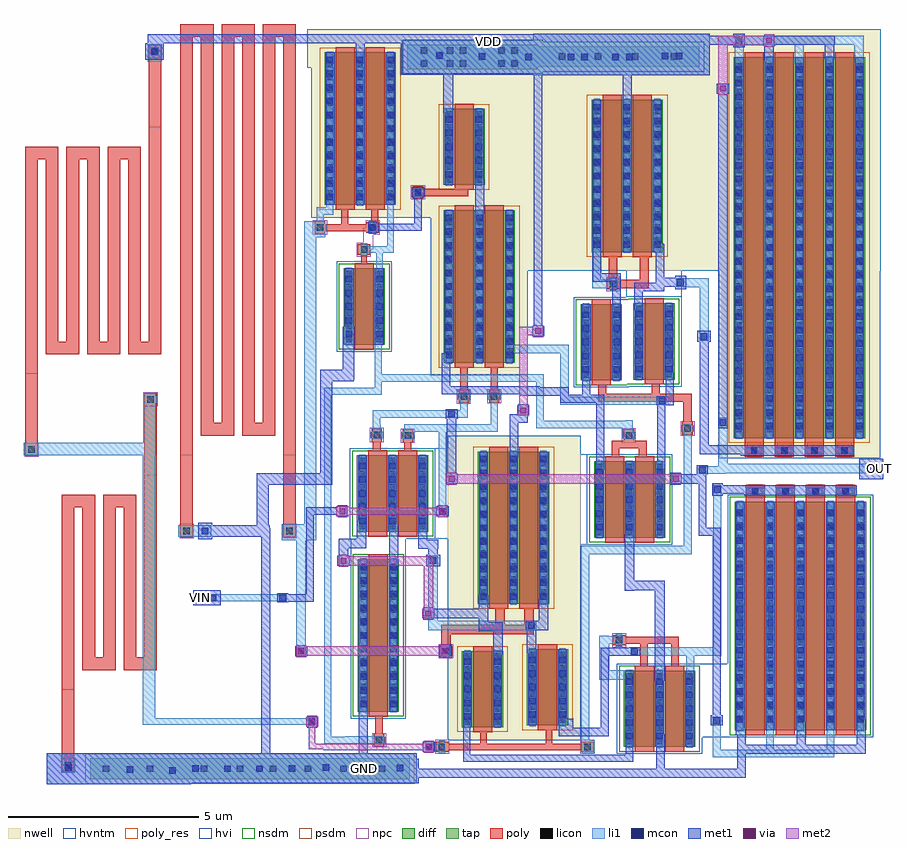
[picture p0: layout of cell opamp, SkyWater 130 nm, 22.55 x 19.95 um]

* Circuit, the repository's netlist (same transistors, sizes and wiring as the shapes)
* SPICE3 file created from opamp.ext - technology: sky130A

.subckt opamp OUT VIN VDD GND
X0 a_1549_3140# a_550_1291# VDD VDD sky130_fd_pr__pfet_g5v0d10v5 ad=0.58 pd=4.58 as=0.58 ps=4.58 w=2 l=0.5
X1 OUT a_1987_304# GND GND sky130_fd_pr__nfet_g5v0d10v5 ad=0.87 pd=6.29 as=0.87 ps=6.29 w=6 l=0.5
X2 GND a_1987_304# OUT GND sky130_fd_pr__nfet_g5v0d10v5 ad=1.74 pd=12.58 as=0.87 ps=6.29 w=6 l=0.5
X3 a_925_2276# a_925_2276# GND GND sky130_fd_pr__nfet_g5v0d10v5 ad=0.58 pd=4.58 as=0.58 ps=4.58 w=2 l=0.5
X4 a_1095_1321# OUT a_937_1321# GND sky130_fd_pr__nfet_g5v0d10v5 ad=0.29 pd=2.29 as=0.58 ps=4.58 w=2 l=0.5
X5 a_1987_304# a_n804_1718# a_1253_1321# w_1414_228# sky130_fd_pr__pfet_g5v0d10v5 ad=0.58 pd=4.58 as=0.58 ps=4.58 w=2 l=0.5
X6 GND a_1987_304# OUT GND sky130_fd_pr__nfet_g5v0d10v5 ad=0.87 pd=6.29 as=0.87 ps=6.29 w=6 l=0.5
X7 a_925_2276# a_550_1291# VDD VDD sky130_fd_pr__pfet_g5v0d10v5 ad=1.16 pd=8.58 as=0.58 ps=4.29 w=4 l=0.5
X8 GND a_925_2276# a_1392_2207# GND sky130_fd_pr__nfet_g5v0d10v5 ad=0.29 pd=2.29 as=0.58 ps=4.58 w=2 l=0.5
R0 GND a_550_1291# sky130_fd_pr__res_generic_po w=0.33 l=65.24
X9 a_1708_2207# VIN a_1549_3140# VDD sky130_fd_pr__pfet_g5v0d10v5 ad=1.16 pd=8.58 as=0.58 ps=4.29 w=4 l=0.5
X10 VDD a_2388_2119# OUT VDD sky130_fd_pr__pfet_g5v0d10v5 ad=1.45 pd=10.29 as=1.45 ps=10.29 w=10 l=0.5
X11 a_1549_3140# OUT a_1392_2207# VDD sky130_fd_pr__pfet_g5v0d10v5 ad=0.58 pd=4.29 as=1.16 ps=8.58 w=4 l=0.5
X12 a_1253_1321# VIN a_1095_1321# GND sky130_fd_pr__nfet_g5v0d10v5 ad=0.58 pd=4.58 as=0.29 ps=2.29 w=2 l=0.5
X13 a_1095_1321# a_925_2276# GND GND sky130_fd_pr__nfet_g5v0d10v5 ad=1.16 pd=8.58 as=1.16 ps=8.58 w=4 l=0.5
X14 OUT a_1987_304# GND GND sky130_fd_pr__nfet_g5v0d10v5 ad=0.87 pd=6.29 as=1.74 ps=12.58 w=6 l=0.5
X15 VDD a_2168_2788# a_2168_2788# VDD sky130_fd_pr__pfet_g5v0d10v5 ad=0.58 pd=4.29 as=1.16 ps=8.58 w=4 l=0.5
X16 a_937_1321# a_n804_1718# a_1488_294# w_1414_228# sky130_fd_pr__pfet_g5v0d10v5 ad=0.58 pd=4.58 as=0.58 ps=4.58 w=2 l=0.5
X17 OUT a_2388_2119# VDD VDD sky130_fd_pr__pfet_g5v0d10v5 ad=1.45 pd=10.29 as=1.45 ps=10.29 w=10 l=0.5
X18 a_1253_1321# a_550_1291# VDD w_1414_228# sky130_fd_pr__pfet_g5v0d10v5 ad=1.16 pd=8.58 as=0.58 ps=4.29 w=4 l=0.5
X19 a_2168_2788# a_n804_1718# a_1392_2207# GND sky130_fd_pr__nfet_g5v0d10v5 ad=0.58 pd=4.58 as=0.58 ps=4.58 w=2 l=0.5
X20 a_1708_2207# a_n804_1718# a_2388_2119# GND sky130_fd_pr__nfet_g5v0d10v5 ad=0.58 pd=4.58 as=0.58 ps=4.58 w=2 l=0.5
R1 a_n804_1718# VDD sky130_fd_pr__res_generic_po w=0.33 l=38.47
X21 VDD a_550_1291# a_937_1321# w_1414_228# sky130_fd_pr__pfet_g5v0d10v5 ad=0.58 pd=4.29 as=1.16 ps=8.58 w=4 l=0.5
X22 VDD a_550_1291# a_550_1291# VDD sky130_fd_pr__pfet_g5v0d10v5 ad=0.58 pd=4.29 as=1.16 ps=8.58 w=4 l=0.5
X23 OUT a_2388_2119# VDD VDD sky130_fd_pr__pfet_g5v0d10v5 ad=1.45 pd=10.29 as=2.9 ps=20.58 w=10 l=0.5
X24 VDD a_2388_2119# OUT VDD sky130_fd_pr__pfet_g5v0d10v5 ad=2.9 pd=20.58 as=1.45 ps=10.29 w=10 l=0.5
X25 a_1708_2207# a_925_2276# GND GND sky130_fd_pr__nfet_g5v0d10v5 ad=0.58 pd=4.58 as=0.29 ps=2.29 w=2 l=0.5
X26 GND a_1488_294# a_1488_294# GND sky130_fd_pr__nfet_g5v0d10v5 ad=0.29 pd=2.29 as=0.58 ps=4.58 w=2 l=0.5
R2 GND a_n804_1718# sky130_fd_pr__res_generic_po w=0.33 l=23.56
X27 a_1987_304# a_1488_294# GND GND sky130_fd_pr__nfet_g5v0d10v5 ad=0.58 pd=4.58 as=0.29 ps=2.29 w=2 l=0.5
X28 a_2388_2119# a_2168_2788# VDD VDD sky130_fd_pr__pfet_g5v0d10v5 ad=1.16 pd=8.58 as=0.58 ps=4.29 w=4 l=0.5
.ends

x1 OUT VIN VDD GND opamp

V1 VIN GND sine(1.65 1.8 100)
V3 VDD GND 3.3

**** begin user architecture code

.param mc_mm_switch=0
.param mc_pr_switch=0
.include /usr/local/share/pdk/sky130A/libs.tech/ngspice/corners/tt.spice
.include /usr/local/share/pdk/sky130A/libs.tech/ngspice/r+c/res_typical__cap_typical.spice
.include /usr/local/share/pdk/sky130A/libs.tech/ngspice/r+c/res_typical__cap_typical__lin.spice
.include /usr/local/share/pdk/sky130A/libs.tech/ngspice/corners/tt/specialized_cells.spice



.tran 0.1m 20m
.save all
.control
run

*For Transient Analysis
plot OUT VIN VDD
.endc

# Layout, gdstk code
import gdstk
lib = gdstk.Library(unit=1e-6, precision=1e-09)
def R(c, l, rs):  # rectangles x0, y0, x1, y1
    for r in rs: c.add(gdstk.rectangle(r[:2], r[2:], *l))
def A(c, l, x, y, w, h, nx, ny, dx, dy):  # array of equal rectangles
    R(c, l, [(x+i*dx, y+j*dy, x+i*dx+w, y+j*dy+h) for i in range(nx) for j in range(ny)])
nwell = (64, 20)
diff = (65, 20)
tap = (65, 44)
poly_res = (66, 13)
poly = (66, 20)
licon = (66, 44)
li1 = (67, 20)
mcon = (67, 44)
met1 = (68, 20)
via = (68, 44)
met2 = (69, 20)
hvi = (75, 20)
nsdm = (93, 44)
psdm = (94, 20)
npc = (95, 20)
hvntm = (125, 20)

opamp = lib.new_cell('opamp')
R(opamp, nwell, [(7.115,1.13,10.55,1.14), (7.07,1.14,10.56,9.125), (14.185,8.535,18.415,13.455), (6.615,10.705,9.16,13.455), (6.615,13.455,18.425,14.845), (3.485,14.845,18.425,18.775), (3.385,18.775,18.425,19.785)])
R(opamp, diff, [(11.69,0.955,13.56,2.955), (14.595,1.39,18.045,7.39), (7.44,1.47,8.52,3.47), (9.145,1.52,10.225,3.52), (4.705,1.88,5.785,5.88), (7.86,4.705,9.73,8.705), (10.905,6.445,12.775,8.445), (4.685,6.605,6.555,8.605), (14.57,9.055,18.02,19.055), (10.555,10.575,11.635,12.575), (11.94,10.595,13.02,12.595), (6.96,11.035,8.83,15.035), (4.335,11.51,5.415,13.51), (10.84,13.94,12.71,17.94), (3.835,15.18,5.705,19.18), (6.955,15.7,8.035,17.7)])
R(opamp, tap, [(-2.32,0.11,6.065,0.655), (6.01,18.74,9.43,18.8), (6.01,18.8,13.67,19.34), (6.01,19.34,9.43,19.385)])
A(opamp, poly_res, -2.52, 3.3, 0.33, 3.94, 3, 1, 0.54, 0)
A(opamp, poly_res, 0.59, 9.455, 0.33, 10.14, 4, 1, 0.54, 0)
A(opamp, poly_res, -3.48, 11.26, 0.87, 0.33, 3, 1, 1.08, 0)
A(opamp, poly_res, -3.48, 11.59, 0.33, 4.79, 5, 1, 0.54, 0)
A(opamp, poly_res, -4.02, 16.38, 0.87, 0.33, 3, 1, 1.08, 0)
A(opamp, poly_res, 0.05, 19.595, 0.87, 0.33, 3, 1, 1.08, 0)
R(opamp, poly_res, [(-3.06,2.45,-2.73,7.24), (-2.52,2.97,-1.65,3.3), (-1.44,2.97,-0.57,3.3), (-0.9,3.3,-0.57,8.09), (-3.06,7.24,-2.19,7.57), (-1.98,7.24,-1.11,7.57), (0.05,8.605,0.38,19.595), (2.75,8.605,3.08,19.595), (0.59,9.125,1.46,9.455), (1.67,9.125,2.54,9.455), (-4.02,10.74,-3.69,16.38), (-0.78,11.59,-0.45,17.23)])
A(opamp, poly, 14.885, 1.26, 0.5, 6.57, 4, 1, 0.79, 0)
A(opamp, poly, -2.52, 3.3, 0.33, 3.94, 3, 1, 0.54, 0)
A(opamp, poly, 14.86, 8.57, 0.5, 10.615, 4, 1, 0.79, 0)
A(opamp, poly, 0.59, 9.455, 0.33, 10.14, 4, 1, 0.54, 0)
A(opamp, poly, -3.48, 11.26, 0.87, 0.33, 3, 1, 1.08, 0)
A(opamp, poly, -3.48, 11.59, 0.33, 4.79, 5, 1, 0.54, 0)
A(opamp, poly, -4.02, 16.38, 0.87, 0.33, 3, 1, 1.08, 0)
A(opamp, poly, 0.05, 19.595, 0.87, 0.33, 3, 1, 1.08, 0)
R(opamp, poly, [(-3.06,0.3,-2.73,7.24), (6.755,0.82,7.085,0.87), (10.565,0.82,10.895,0.87), (11.98,0.825,12.48,3.085), (12.77,0.825,13.27,3.085), (6.755,0.87,10.895,1.04), (5.13,0.965,5.4,1.295), (6.755,1.04,7.085,1.09), (7.92,1.04,8.09,1.34), (9.645,1.04,9.815,1.39), (10.565,1.04,10.895,1.09), (5.165,1.295,5.365,1.75), (7.73,1.34,8.23,3.6), (9.435,1.39,9.935,3.65), (4.995,1.75,5.495,6.01), (-2.52,2.97,-1.65,3.3), (-1.44,2.97,-0.57,3.3), (12.115,3.085,12.31,3.655), (12.935,3.085,13.13,3.655), (-0.9,3.3,-0.57,10.24), (6.855,3.33,7.185,3.6), (6.895,3.6,7.145,3.905), (11.4,3.62,11.73,3.655), (11.4,3.655,13.13,3.85), (11.4,3.85,11.73,3.89), (6.895,3.905,9.32,4.155), (8.31,4.155,8.56,4.575), (9.07,4.155,9.32,4.575), (8.15,4.575,8.65,8.835), (8.94,4.575,9.44,8.835), (11.195,6.315,11.695,8.575), (11.985,6.315,12.485,8.575), (0.05,6.455,0.38,19.595), (2.75,6.455,3.08,19.595), (4.975,6.475,5.475,8.735), (5.765,6.475,6.265,8.735), (-3.06,7.24,-2.19,7.57), (-1.98,7.24,-1.11,7.57), (11.37,8.575,11.57,8.79), (12.085,8.575,12.285,8.79), (-4.02,8.59,-3.69,16.38), (5.1,8.735,5.31,8.975), (5.92,8.735,6.115,8.955), (11.37,8.79,12.285,8.99), (5.885,8.955,6.155,9.285), (5.07,8.975,5.34,9.305), (11.685,8.99,11.955,9.29), (0.59,9.125,1.46,9.455), (1.67,9.125,2.54,9.455), (13.225,9.145,13.495,9.475), (13.25,9.475,13.465,10.005), (7.355,9.985,7.625,10.315), (8.15,9.99,8.42,10.32), (11.015,10.005,13.465,10.22), (11.015,10.22,11.23,10.445), (12.415,10.22,12.63,10.465), (7.39,10.315,7.59,10.905), (8.19,10.32,8.375,10.905), (10.845,10.445,11.345,12.705), (12.23,10.465,12.73,12.725), (7.25,10.905,7.75,15.165), (8.04,10.905,8.54,15.165), (4.625,11.38,5.125,13.64), (-0.78,11.59,-0.45,19.38), (11.24,12.965,11.57,12.985), (11.24,12.985,12.335,13.215), (11.24,13.215,11.57,13.235), (12.105,13.215,12.335,13.81), (11.29,13.235,11.52,13.81), (4.79,13.64,4.96,13.66), (4.79,13.66,4.94,13.87), (11.13,13.81,11.63,18.07), (11.92,13.81,12.42,18.07), (4.7,13.87,5.03,14.14), (3.58,14.42,3.85,14.49), (4.93,14.45,5.26,14.49), (3.58,14.49,5.26,14.675), (3.58,14.675,3.85,14.75), (4.27,14.675,4.455,15.05), (4.93,14.675,5.26,14.72), (5.06,14.72,5.245,15.05), (4.125,15.05,4.625,19.31), (4.915,15.05,5.415,19.31), (6.15,15.34,6.42,15.405), (6.15,15.405,7.6,15.57), (6.15,15.57,7.745,15.605), (6.15,15.605,6.42,15.67), (7.245,15.605,7.745,17.83)])
A(opamp, licon, 11.75, 1.02, 0.17, 0.17, 3, 6, 0.79, 0.34)
A(opamp, licon, 7.5, 1.535, 0.17, 0.17, 1, 6, 0, 0.34)
A(opamp, licon, 8.29, 1.535, 0.17, 0.17, 1, 6, 0, 0.34)
A(opamp, licon, 9.205, 1.585, 0.17, 0.17, 1, 6, 0, 0.34)
A(opamp, licon, 9.995, 1.585, 0.17, 0.17, 1, 6, 0, 0.34)
A(opamp, licon, 14.655, 1.585, 0.17, 0.17, 5, 17, 0.79, 0.34)
A(opamp, licon, 4.765, 2.095, 0.17, 0.17, 1, 11, 0, 0.34)
A(opamp, licon, 5.555, 2.095, 0.17, 0.17, 1, 11, 0, 0.34)
A(opamp, licon, 7.92, 4.92, 0.17, 0.17, 3, 11, 0.79, 0.34)
A(opamp, licon, 10.965, 6.51, 0.17, 0.17, 3, 6, 0.79, 0.34)
A(opamp, licon, 4.745, 6.67, 0.17, 0.17, 3, 6, 0.79, 0.34)
A(opamp, licon, 15.05, 7.58, 0.17, 0.17, 4, 1, 0.79, 0)
A(opamp, licon, 15.025, 8.65, 0.17, 0.17, 4, 1, 0.79, 0)
A(opamp, licon, 14.63, 9.21, 0.17, 0.17, 5, 29, 0.79, 0.34)
A(opamp, licon, 10.615, 10.64, 0.17, 0.17, 1, 6, 0, 0.34)
A(opamp, licon, 11.405, 10.64, 0.17, 0.17, 1, 6, 0, 0.34)
A(opamp, licon, 12, 10.66, 0.17, 0.17, 1, 6, 0, 0.34)
A(opamp, licon, 12.79, 10.66, 0.17, 0.17, 1, 6, 0, 0.34)
A(opamp, licon, 7.02, 11.25, 0.17, 0.17, 3, 11, 0.79, 0.34)
A(opamp, licon, 4.395, 11.575, 0.17, 0.17, 1, 6, 0, 0.34)
A(opamp, licon, 5.185, 11.575, 0.17, 0.17, 1, 6, 0, 0.34)
A(opamp, licon, 10.9, 14.155, 0.17, 0.17, 3, 11, 0.79, 0.34)
A(opamp, licon, 3.895, 15.395, 0.17, 0.17, 3, 11, 0.79, 0.34)
A(opamp, licon, 7.015, 15.765, 0.17, 0.17, 1, 6, 0, 0.34)
A(opamp, licon, 7.805, 15.765, 0.17, 0.17, 1, 6, 0, 0.34)
R(opamp, licon, [(-1.99,0.295,-1.82,0.465), (-0.835,0.295,-0.665,0.465), (0.58,0.295,0.75,0.465), (1.525,0.295,1.695,0.465), (2.395,0.295,2.565,0.465), (3.31,0.295,3.48,0.465), (4.245,0.295,4.415,0.465), (5.26,0.295,5.43,0.465), (-2.98,0.38,-2.81,0.55), (6.835,0.87,7.005,1.04), (10.645,0.87,10.815,1.04), (5.18,1.045,5.35,1.215), (6.935,3.38,7.105,3.55), (11.48,3.67,11.65,3.84), (0.13,6.535,0.3,6.705), (2.83,6.535,3,6.705), (-3.94,8.67,-3.77,8.84), (5.935,9.035,6.105,9.205), (11.735,9.04,11.905,9.21), (5.12,9.055,5.29,9.225), (13.275,9.225,13.445,9.395), (-0.82,9.99,-0.65,10.16), (7.405,10.065,7.575,10.235), (8.2,10.07,8.37,10.24), (11.32,13.015,11.49,13.185), (4.78,13.92,4.95,14.09), (3.63,14.5,3.8,14.67), (5.01,14.5,5.18,14.67), (6.2,15.42,6.37,15.59), (6.355,18.805,6.525,18.975), (7.045,18.805,7.215,18.975), (7.385,18.805,7.555,18.975), (8.39,18.805,8.56,18.975), (8.73,18.805,8.9,18.975), (9.98,18.985,10.15,19.155), (10.925,18.985,11.095,19.155), (11.895,18.985,12.065,19.155), (12.92,18.985,13.09,19.155), (-0.7,19.13,-0.53,19.3), (6.355,19.145,6.525,19.315), (7.045,19.145,7.215,19.315), (7.385,19.145,7.555,19.315), (8.39,19.145,8.56,19.315), (8.73,19.145,8.9,19.315)])
A(opamp, li1, 14.655, 1.37, 0.17, 6.04, 3, 1, 1.58, 0)
A(opamp, li1, 7.92, 4.685, 0.17, 4.04, 3, 1, 0.79, 0)
A(opamp, li1, 10.965, 6.425, 0.17, 2.04, 3, 1, 0.79, 0)
A(opamp, li1, 4.745, 6.585, 0.17, 2.04, 3, 1, 0.79, 0)
A(opamp, li1, 14.885, 7.58, 0.5, 0.17, 4, 1, 0.79, 0)
A(opamp, li1, 14.86, 8.65, 0.5, 0.17, 4, 1, 0.79, 0)
R(opamp, li1, [(-3.46,-0.02,0.33,0), (-3.46,0,6.255,0.785), (14.025,0.685,17.21,0.885), (-3.46,0.785,0.33,0.79), (10.585,0.785,10.93,0.82), (6.835,0.79,7.005,0.87), (10.57,0.82,10.93,1.13), (6.485,0.87,7.005,1.04), (14.025,0.885,14.225,1.75), (15.42,0.885,15.62,1.61), (17.01,0.885,17.21,1.565), (11.75,0.935,11.92,2.71), (12.54,0.935,12.71,2.975), (13.33,0.935,13.5,2.675), (4.38,1.03,5.365,1.035), (3.825,1.035,5.365,1.045), (6.835,1.04,7.005,1.12), (3.825,1.045,5.43,1.215), (10.57,1.13,10.785,6.015), (3.825,1.215,5.365,1.22), (3.825,1.22,4.01,10.195), (4.38,1.22,5.365,1.23), (7.5,1.45,7.67,3.49), (8.29,1.45,8.46,3.49), (9.205,1.5,9.375,3.54), (9.995,1.5,10.165,3.54), (3.41,1.515,3.58,1.53), (-0.935,1.53,3.58,1.7), (17.025,1.565,17.195,7.41), (15.445,1.61,15.615,7.41), (-0.935,1.7,-0.605,8.61), (3.41,1.7,3.58,1.715), (4.765,1.86,4.935,5.9), (5.555,1.86,5.725,5.9), (13.325,2.675,13.54,3.35), (11.04,2.71,11.945,2.97), (11.04,2.97,11.3,3.66), (11.75,2.97,11.92,2.975), (6.935,3.3,7.105,3.34), (6.895,3.34,7.145,3.59), (3.095,3.345,3.345,6.38), (11.865,3.35,14.25,3.565), (14.035,3.565,14.25,7.815), (6.935,3.59,7.105,3.63), (11.48,3.59,11.65,3.66), (11.04,3.66,11.665,3.855), (11.04,3.855,11.3,3.87), (11.48,3.855,11.65,3.92), (6.56,4.02,9.39,4.265), (6.56,4.265,6.805,5.97), (0.815,4.77,2.835,4.965), (10.57,6.015,13.47,6.23), (13.255,6.23,13.47,9.225), (2.71,6.38,3.62,6.795), (0,6.465,0.855,6.77), (3.3,6.795,3.62,14.335), (6.83,7.035,7.025,9.225), (13.65,8.125,14.365,8.135), (13.65,8.135,18.31,8.325), (14.17,8.325,18.31,8.38), (14.17,8.38,14.415,9.595), (-4.06,8.61,-0.595,8.94), (-0.925,8.94,-0.595,9.99), (5.925,9.025,6.12,9.035), (11.72,9.025,11.92,9.04), (5.1,9.035,5.31,9.055), (5.855,9.035,6.185,9.205), (14.63,9.035,14.8,18.915), (15.42,9.035,15.59,19.075), (16.21,9.035,16.38,18.89), (17,9.035,17.17,19.075), (17.79,9.035,17.96,18.89), (11.655,9.04,11.985,9.21), (5.04,9.055,5.37,9.225), (5.925,9.205,6.185,9.225), (11.655,9.21,11.92,9.315), (5.1,9.225,5.31,9.41), (5.925,9.225,8.38,9.42), (13.195,9.225,13.525,9.395), (9.39,9.315,11.92,9.515), (13.255,9.395,13.47,9.42), (5.1,9.41,5.3,9.59), (8.195,9.42,8.38,10.07), (9.39,9.515,9.59,10.53), (11.72,9.515,11.92,9.52), (5.1,9.59,7.59,9.79), (7.39,9.79,7.59,10.065), (10.025,9.93,12.8,10.145), (-0.925,9.99,-0.57,10.16), (7.325,10.065,7.655,10.235), (8.12,10.07,8.45,10.24), (10.025,10.145,10.24,11.29), (-0.925,10.16,-0.595,10.235), (3.825,10.195,5.335,10.38), (7.39,10.235,7.59,10.25), (8.195,10.24,8.38,10.25), (5.15,10.38,5.335,10.53), (5.15,10.53,9.59,10.73), (10.615,10.555,10.785,12.595), (11.405,10.555,11.575,12.595), (12,10.575,12.17,12.615), (12.79,10.575,12.96,12.615), (5.15,10.73,5.335,11.49), (7.02,11.015,7.19,15.055), (7.81,11.015,7.98,15.055), (8.6,11.015,8.77,11.29), (8.6,11.29,10.24,11.505), (4.395,11.49,4.565,13.53), (5.15,11.49,5.355,12.545), (8.6,11.505,8.77,15.055), (13.68,11.61,13.915,13.02), (5.185,12.545,5.355,13.52), (11.32,12.935,11.49,12.985), (10.855,12.985,11.52,13.215), (13.35,13.02,13.915,13.03), (13.065,13.03,13.915,13.255), (10.855,13.215,11.085,14.395), (11.32,13.215,11.49,13.265), (5.185,13.52,5.36,13.92), (4.78,13.84,4.95,13.92), (4.78,13.92,5.645,14.09), (11.69,13.92,11.86,17.96), (12.48,13.92,12.65,17.96), (4.78,14.09,4.95,14.17), (5.475,14.09,5.645,19.2), (3.3,14.335,3.85,14.5), (10.9,14.395,11.07,17.96), (5.01,14.42,5.18,14.495), (5.005,14.495,5.19,14.68), (3.3,14.5,3.88,14.67), (3.3,14.67,3.85,14.75), (5.01,14.68,5.18,14.75), (3.625,14.75,3.81,14.925), (3.625,14.925,4.06,15.11), (3.875,15.11,4.06,15.16), (3.875,15.16,4.065,15.44), (4.685,15.16,4.855,19.2), (6.185,15.405,6.385,15.42), (6.12,15.42,6.45,15.59), (3.895,15.44,4.065,19.2), (6.185,15.59,6.385,15.605), (7.015,15.68,7.185,17.72), (7.805,15.68,7.975,17.72), (9.31,18.585,13.94,18.59), (5.86,18.59,13.94,19.5), (16.17,18.89,16.41,19.375), (17.75,18.89,17.99,19.115), (14.595,18.915,14.835,19.375), (-0.81,18.93,-0.44,19.39), (17.74,19.115,17.99,19.23), (17.74,19.23,17.98,19.375), (14.595,19.375,17.98,19.615), (9.31,19.5,13.94,19.665)])
A(opamp, mcon, 11.75, 1.15, 0.17, 0.17, 3, 5, 0.79, 0.36)
A(opamp, mcon, 14.655, 1.605, 0.17, 0.17, 5, 16, 0.79, 0.36)
A(opamp, mcon, 7.5, 1.665, 0.17, 0.17, 1, 5, 0, 0.36)
A(opamp, mcon, 8.29, 1.665, 0.17, 0.17, 1, 5, 0, 0.36)
A(opamp, mcon, 9.205, 1.715, 0.17, 0.17, 1, 5, 0, 0.36)
A(opamp, mcon, 9.995, 1.715, 0.17, 0.17, 1, 5, 0, 0.36)
A(opamp, mcon, 4.765, 1.995, 0.17, 0.17, 1, 11, 0, 0.36)
A(opamp, mcon, 5.555, 1.995, 0.17, 0.17, 1, 11, 0, 0.36)
A(opamp, mcon, 7.92, 4.82, 0.17, 0.17, 3, 11, 0.79, 0.36)
A(opamp, mcon, 10.965, 6.64, 0.17, 0.17, 3, 5, 0.79, 0.36)
A(opamp, mcon, 4.745, 6.8, 0.17, 0.17, 3, 5, 0.79, 0.36)
A(opamp, mcon, 15.05, 7.58, 0.17, 0.17, 4, 1, 0.79, 0)
A(opamp, mcon, 15.025, 8.65, 0.17, 0.17, 4, 1, 0.79, 0)
A(opamp, mcon, 14.63, 9.29, 0.17, 0.17, 5, 27, 0.79, 0.36)
A(opamp, mcon, 10.615, 10.77, 0.17, 0.17, 1, 5, 0, 0.36)
A(opamp, mcon, 11.405, 10.77, 0.17, 0.17, 1, 5, 0, 0.36)
A(opamp, mcon, 12, 10.79, 0.17, 0.17, 1, 5, 0, 0.36)
A(opamp, mcon, 12.79, 10.79, 0.17, 0.17, 1, 5, 0, 0.36)
A(opamp, mcon, 7.02, 11.15, 0.17, 0.17, 3, 11, 0.79, 0.36)
A(opamp, mcon, 4.395, 11.705, 0.17, 0.17, 1, 5, 0, 0.36)
A(opamp, mcon, 5.185, 11.705, 0.17, 0.17, 1, 5, 0, 0.36)
A(opamp, mcon, 10.9, 14.055, 0.17, 0.17, 3, 11, 0.79, 0.36)
A(opamp, mcon, 3.895, 15.295, 0.17, 0.17, 3, 11, 0.79, 0.36)
A(opamp, mcon, 7.015, 15.895, 0.17, 0.17, 1, 5, 0, 0.36)
A(opamp, mcon, 7.805, 15.895, 0.17, 0.17, 1, 5, 0, 0.36)
R(opamp, mcon, [(-0.245,0.255,-0.075,0.425), (-1.355,0.275,-1.185,0.445), (1.2,0.295,1.37,0.465), (2.045,0.295,2.215,0.465), (0.36,0.305,0.53,0.475), (2.89,0.305,3.06,0.475), (5.725,0.315,5.895,0.485), (-2.975,0.325,-2.805,0.495), (3.785,0.325,3.955,0.495), (4.72,0.325,4.89,0.495), (6.485,0.87,6.655,1.04), (3.41,1.53,3.58,1.7), (14.04,1.565,14.21,1.735), (11.885,3.37,12.055,3.54), (6.935,3.38,7.105,3.55), (3.135,3.385,3.305,3.555), (9.18,4.05,9.35,4.22), (0.825,4.78,0.995,4.95), (2.65,4.78,2.82,4.95), (6.595,5.76,6.765,5.93), (0.615,6.53,0.785,6.7), (6.84,7.045,7.01,7.215), (14.055,7.62,14.225,7.79), (13.665,8.14,13.835,8.31), (18.1,8.17,18.27,8.34), (14.205,9.385,14.375,9.555), (7.085,9.61,7.255,9.78), (12.605,9.95,12.775,10.12), (13.71,11.64,13.88,11.81), (13.09,13.055,13.26,13.225), (5.01,14.5,5.18,14.67), (6.2,15.42,6.37,15.59), (9.1,18.97,9.27,19.14), (11.39,18.97,11.56,19.14), (11.75,18.97,11.92,19.14), (10.215,18.98,10.385,19.15), (10.575,18.98,10.745,19.15), (7.885,18.985,8.055,19.155), (12.685,18.995,12.855,19.165), (13.045,18.995,13.215,19.165), (6.765,19.01,6.935,19.18), (-0.71,19.12,-0.54,19.29), (14.63,19.41,14.8,19.58)])
A(opamp, met1, 14.6, 9.055, 0.23, 10, 3, 1, 1.58, 0)
R(opamp, met1, [(-3.46,-0.02,0.33,0), (-3.46,0,6.3,0.145), (-3.46,0.145,14.89,0.375), (-3.46,0.375,6.3,0.645), (12.535,0.375,12.765,0.955), (14.66,0.375,14.89,0.775), (7.47,0.56,11.93,0.75), (-3.46,0.645,6.255,0.785), (7.47,0.75,7.66,1.47), (11.74,0.75,11.93,0.955), (14.66,0.775,18.035,1.005), (-3.46,0.785,0.33,0.79), (2.175,0.785,2.405,6.47), (4.735,0.785,4.965,5.88), (6.455,0.81,6.685,0.825), (6.41,0.825,6.73,1.085), (11.72,0.955,11.95,2.955), (12.51,0.955,12.765,1.28), (13.3,0.955,13.53,2.955), (14.66,1.005,14.89,1.275), (16.23,1.005,16.46,1.39), (17.805,1.005,18.035,1.39), (6.455,1.085,6.685,1.1), (9.98,1.235,11.295,1.45), (14.625,1.275,14.89,1.43), (12.51,1.28,12.74,2.69), (15.415,1.39,15.645,7.39), (16.205,1.39,16.46,1.6), (16.995,1.39,17.225,7.39), (17.785,1.39,18.035,1.675), (14.625,1.43,14.86,1.435), (14.625,1.435,14.855,7.39), (9.98,1.45,10.36,1.52), (11.08,1.45,11.295,3.345), (3.38,1.455,3.64,1.485), (7.47,1.47,7.7,3.47), (8.26,1.47,8.49,3.38), (3.35,1.485,3.64,1.745), (9.175,1.52,9.405,3.42), (9.965,1.52,10.36,1.69), (13.965,1.52,14.285,1.78), (16.205,1.6,16.435,7.39), (17.785,1.675,18.015,7.39), (9.965,1.69,10.195,3.52), (3.38,1.745,3.64,1.775), (14.025,1.78,14.225,6.5), (5.525,1.88,5.755,5.79), (12.505,2.69,12.755,5.065), (6.865,3.28,7.175,3.31), (6.835,3.31,7.175,3.62), (3.09,3.315,3.35,3.335), (3.06,3.335,3.38,3.595), (11.825,3.34,12.115,3.345), (11.08,3.345,12.115,3.56), (8.26,3.38,8.51,3.47), (9.145,3.42,9.405,3.52), (8.265,3.47,8.51,3.985), (9.145,3.52,9.39,4.015), (11.825,3.56,12.115,3.57), (3.09,3.595,3.35,3.625), (6.865,3.62,7.175,3.65), (7.88,3.985,8.51,4.23), (9.115,4.015,9.705,4.26), (7.88,4.23,8.125,4.33), (9.46,4.26,9.705,4.825), (6.425,4.295,6.685,4.33), (6.425,4.33,8.125,4.575), (6.425,4.575,6.685,4.615), (7.88,4.575,8.125,4.93), (0.385,4.67,1.11,5.065), (8.68,4.705,8.91,8.56), (2.59,4.75,2.88,4.765), (2.59,4.765,3.545,4.96), (9.47,4.825,9.7,8.705), (7.89,4.93,8.12,8.705), (2.59,4.96,2.88,4.98), (3.35,4.96,3.545,7.045), (11.715,5.045,11.965,5.065), (11.715,5.065,12.755,5.315), (11.715,5.315,11.965,6.535), (6.5,5.695,6.865,6), (4.17,5.705,4.49,5.965), (5.525,5.79,5.77,5.88), (5.53,5.88,5.77,6.605), (4.21,5.965,4.455,6.165), (6.56,6,6.805,6.155), (6.295,6.155,6.82,6.385), (4.21,6.165,4.93,6.41), (6.295,6.385,6.525,8.605), (0.52,6.405,0.885,6.47), (4.685,6.41,4.93,6.605), (10.935,6.445,11.165,8.225), (12.515,6.445,12.745,8.27), (0.52,6.47,2.405,6.695), (13.65,6.5,14.225,6.7), (11.725,6.535,11.955,8.445), (4.685,6.605,4.945,6.88), (5.505,6.605,5.77,6.78), (0.52,6.695,2.395,6.775), (13.65,6.7,13.85,7.865), (0.52,6.775,0.885,6.83), (2.06,6.775,2.365,7.835), (5.505,6.78,5.735,8.605), (4.715,6.88,4.945,8.605), (6.8,6.975,7.055,7.005), (4.175,6.98,4.435,7.045), (6.77,7.005,7.09,7.265), (3.35,7.045,4.435,7.24), (4.175,7.24,4.435,7.3), (6.8,7.265,7.055,7.29), (14.005,7.54,14.28,7.6), (14.85,7.55,17.805,7.6), (14.005,7.6,17.805,7.815), (14.005,7.815,14.28,7.875), (14.85,7.815,17.805,7.825), (12.92,7.83,13.18,7.865), (2.06,7.835,4.03,8.14), (7.01,7.86,7.33,8.12), (12.92,7.865,13.85,8.11), (17.87,7.98,18.495,8.515), (12.92,8.11,13.895,8.115), (12.92,8.115,13.18,8.15), (13.605,8.115,13.895,8.34), (7.045,8.12,7.295,9.57), (3.725,8.14,4.03,10.55), (10.935,8.225,11.175,8.445), (12.515,8.27,12.775,8.445), (10.96,8.445,11.175,9.985), (12.56,8.445,12.775,9.92), (8.68,8.56,8.92,8.705), (14.755,8.59,17.71,8.63), (13.68,8.63,17.71,8.865), (8.7,8.705,8.92,9.46), (13.68,8.865,13.915,11.58), (15.39,9.055,15.62,18.98), (16.97,9.055,17.2,19), (14.17,9.32,14.415,18.1), (8.7,9.46,9.16,9.625), (7.015,9.57,7.325,9.82), (8.7,9.625,9.18,9.68), (8.92,9.68,9.18,9.945), (12.545,9.92,12.835,9.925), (12.545,9.925,13,10.15), (10.025,9.985,11.175,10.175), (12.785,10.15,13,10.595), (8.945,10.175,11.175,10.2), (8.945,10.2,10.24,10.205), (10.59,10.2,10.805,10.575), (6.915,10.205,10.24,10.39), (6.915,10.39,9.485,10.42), (6.915,10.42,7.13,11.035), (3.725,10.55,4.605,10.585), (10.585,10.575,10.815,12.575), (11.375,10.575,11.605,12.415), (3.725,10.585,4.61,10.855), (11.97,10.595,12.2,12.42), (12.76,10.595,13,10.77), (12.76,10.77,12.99,12.595), (4.305,10.855,4.61,11.98), (6.915,11.035,7.22,11.285), (7.78,11.035,8.01,14.945), (8.57,11.035,8.8,15.035), (6.99,11.285,7.22,15.035), (5.155,11.51,5.385,13.51), (13.62,11.58,13.975,11.875), (9.28,11.735,9.6,11.995), (4.365,11.98,4.595,13.51), (9.33,11.995,9.55,18.585), (11.375,12.415,11.61,12.575), (11.96,12.42,12.2,12.595), (11.385,12.575,11.61,13.155), (11.96,12.595,12.185,12.91), (11.96,12.91,12.75,13.035), (13.035,12.97,13.32,13.035), (11.96,13.035,13.32,13.135), (12.525,13.135,13.32,13.26), (10.87,13.155,11.61,13.38), (12.525,13.26,12.75,13.94), (13.035,13.26,13.32,13.315), (10.87,13.38,11.095,13.94), (10.87,13.94,11.1,17.94), (11.66,13.94,11.89,17.705), (12.45,13.94,12.75,14.155), (12.45,14.155,12.68,17.94), (4.975,14.435,5.22,14.5), (4.975,14.5,6.385,14.685), (4.975,14.685,5.22,14.74), (6.185,14.685,6.385,15.375), (7.78,14.945,8.025,15.035), (7.785,15.035,8.025,15.7), (3.865,15.18,4.095,19.18), (4.655,15.18,4.885,19.055), (5.445,15.18,5.675,19.18), (6.125,15.375,6.445,15.635), (6.985,15.7,7.215,17.61), (7.775,15.7,8.025,15.825), (7.775,15.825,8.005,17.7), (6.95,17.61,7.215,18.59), (11.655,17.705,11.89,18.585), (14.13,18.1,14.45,18.36), (9.31,18.585,13.94,18.59), (5.83,18.59,13.94,19.375), (15.375,18.98,15.62,19.36), (-0.87,18.99,-0.38,19.42), (16.96,19,17.205,19.375), (4.655,19.055,4.89,19.425), (14.565,19.315,14.865,19.375), (15.34,19.36,15.66,19.375), (5.83,19.375,14.865,19.425), (15.34,19.375,17.225,19.62), (-0.81,19.42,-0.38,19.425), (-0.81,19.425,14.865,19.615), (-0.81,19.615,13.94,19.655), (14.565,19.615,14.865,19.675), (-0.785,19.655,13.94,19.66), (9.31,19.66,13.94,19.665)])
R(opamp, via, [(6.495,0.88,6.645,1.03), (3.435,1.54,3.585,1.69), (3.145,3.39,3.295,3.54), (6.92,3.39,7.07,3.54), (6.48,4.38,6.63,4.53), (4.255,5.76,4.405,5.91), (6.855,7.06,7.005,7.21), (4.23,7.065,4.38,7.215), (7.095,7.915,7.245,8.065), (12.975,7.915,13.125,8.065), (8.975,9.71,9.125,9.86), (9.365,11.79,9.515,11.94), (14.215,18.155,14.365,18.305), (15.425,19.415,15.575,19.565)])
R(opamp, met2, [(6.44,0.795,6.7,0.87), (3.795,0.87,6.7,0.895), (3.425,0.895,6.7,1.04), (3.425,1.04,3.595,1.485), (6.44,1.04,6.7,1.115), (3.35,1.485,3.67,1.745), (6.865,3.28,7.125,3.34), (3.09,3.305,3.35,3.34), (3.09,3.34,7.125,3.59), (3.09,3.59,3.35,3.625), (6.865,3.59,7.125,3.65), (6.395,4.325,6.715,4.585), (6.435,4.585,6.68,5.71), (4.2,5.675,4.46,5.71), (4.2,5.71,6.68,5.945), (4.2,5.945,6.64,5.955), (4.2,5.955,4.46,5.995), (6.8,6.975,7.06,7.04), (4.145,7.01,4.465,7.04), (4.145,7.04,7.06,7.235), (4.145,7.235,4.465,7.27), (6.8,7.235,7.06,7.295), (7.04,7.83,7.3,7.865), (12.88,7.86,13.21,7.865), (7.025,7.865,13.21,8.115), (7.04,8.115,7.3,8.15), (12.88,8.115,13.21,8.12), (8.89,9.655,9.21,9.915), (8.94,9.915,9.16,11.755), (9.31,11.705,9.57,11.755), (8.94,11.755,9.57,11.975), (9.31,11.975,9.57,12.025), (14.16,18.07,14.42,18.39), (14.165,18.39,14.41,19.37), (15.37,19.33,15.63,19.37), (14.165,19.37,15.63,19.615), (15.37,19.615,15.63,19.65)])
R(opamp, hvi, [(11.505,0.77,13.745,1.205), (7.115,1.13,10.55,1.14), (7.07,1.14,10.56,6.26), (11.505,1.205,18.23,3.14), (4.52,1.695,5.97,6.42), (14.41,3.14,18.23,7.575), (7.07,6.26,12.96,6.42), (4.5,6.42,12.96,8.63), (14.185,8.535,18.415,13.455), (4.5,8.63,10.56,8.79), (7.07,8.79,10.56,9.125), (10.37,10.39,11.82,10.41), (10.37,10.41,13.205,12.76), (6.615,10.705,9.16,13.455), (4.15,11.325,5.6,13.695), (11.755,12.76,13.205,13.455), (6.615,13.455,18.425,14.845), (3.485,14.845,18.425,18.775), (3.385,18.775,18.425,19.785)])
R(opamp, nsdm, [(11.565,0.83,13.685,3.08), (14.47,1.265,18.17,7.515), (4.58,1.755,5.91,6.005), (10.78,6.32,12.9,8.57), (4.56,6.48,6.68,8.73), (10.43,10.45,11.76,10.47), (10.43,10.47,13.145,12.7), (4.21,11.385,5.54,13.635), (11.815,12.7,13.145,12.72), (5.885,18.615,9.555,18.675), (5.885,18.675,13.795,19.465), (5.885,19.465,9.555,19.51)])
R(opamp, psdm, [(-2.445,-0.015,6.19,0.78), (7.315,1.345,8.645,3.595), (9.02,1.395,10.35,3.645), (7.735,4.58,9.855,8.83), (14.445,8.93,18.145,19.18), (6.835,10.91,8.955,15.16), (10.715,13.815,12.835,18.065), (3.71,15.055,5.83,19.305), (6.83,15.575,8.16,17.825)])
A(opamp, npc, 14.95, 7.48, 0.37, 0.37, 4, 1, 0.79, 0)
A(opamp, npc, 14.925, 8.55, 0.37, 0.37, 4, 1, 0.79, 0)
R(opamp, npc, [(-3.08,0.28,-2.71,0.65), (6.735,0.77,7.105,1.14), (10.545,0.77,10.915,1.14), (5.08,0.945,5.45,1.315), (6.835,3.28,7.205,3.65), (11.38,3.57,11.75,3.94), (0.03,6.435,0.4,6.805), (2.73,6.435,3.1,6.805), (-4.04,8.57,-3.67,8.94), (5.835,8.935,6.205,9.305), (11.635,8.94,12.005,9.31), (5.02,8.955,5.39,9.325), (13.175,9.125,13.545,9.495), (-0.92,9.89,-0.55,10.26), (7.305,9.965,7.675,10.335), (8.1,9.97,8.47,10.34), (11.22,12.915,11.59,13.285), (4.68,13.82,5.05,14.01), (4.68,14.01,5.115,14.19), (4.845,14.19,5.115,14.4), (3.53,14.4,3.9,14.77), (4.845,14.4,5.28,14.58), (4.91,14.58,5.28,14.77), (6.1,15.32,6.47,15.69), (-0.8,19.03,-0.43,19.4)])
R(opamp, hvntm, [(11.505,0.77,13.745,1.205), (11.505,1.205,18.23,3.14), (4.52,1.695,5.97,6.42), (14.41,3.14,18.23,7.575), (10.72,6.26,12.96,8.63), (4.5,6.42,6.74,8.79), (10.37,10.39,11.82,10.41), (10.37,10.41,13.205,12.76), (4.15,11.325,5.6,13.695), (11.755,12.76,13.205,12.78)])
opamp.add(gdstk.Label('VDD', (8.135,19.47), layer=68, texttype=5))
opamp.add(gdstk.Label('OUT', (18.4,8.26), layer=68, texttype=5))
opamp.add(gdstk.Label('GND', (4.88,0.395), layer=68, texttype=5))
opamp.add(gdstk.Label('VIN', (0.58,4.87), layer=68, texttype=5))

lib.write_gds('opamp.gds')
